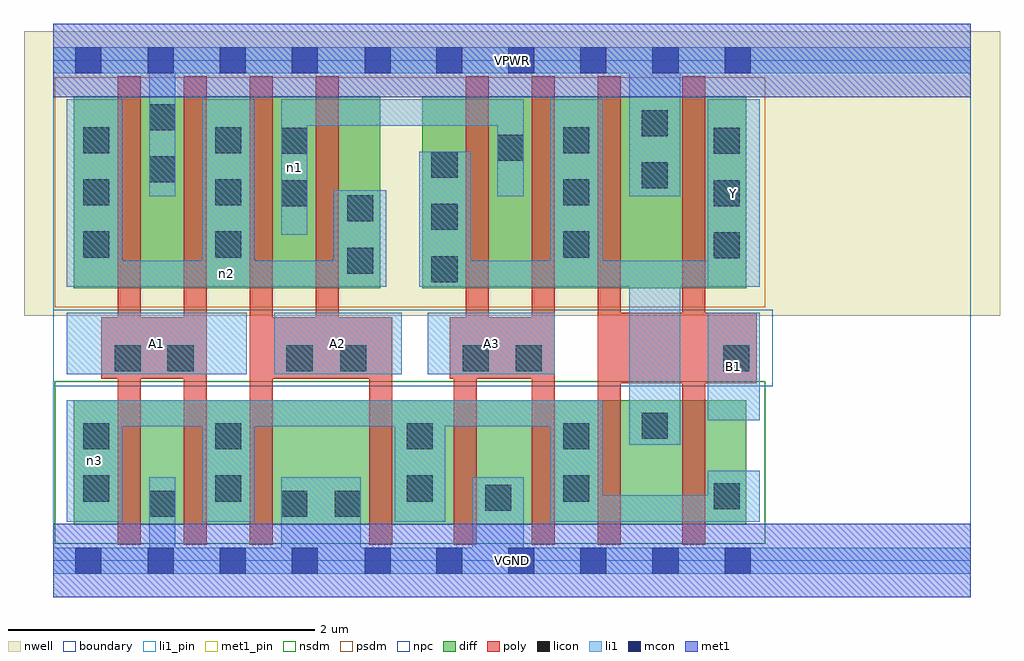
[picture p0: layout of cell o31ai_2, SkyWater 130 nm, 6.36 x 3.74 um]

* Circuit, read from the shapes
.subckt o31ai_2 A1 A2 A3 B1 VGND VPWR Y n1 n2 n3
XM1 VGND A1 n3 VSUBS sky130_fd_pr__nfet_01v8 w=0.81 l=0.15 m=2
XM2 VGND A2 n3 VSUBS sky130_fd_pr__nfet_01v8 w=0.81 l=0.15 m=2
XM3 VGND A3 n3 VSUBS sky130_fd_pr__nfet_01v8 w=0.81 l=0.15 m=2
XM4 Y B1 n3 VSUBS sky130_fd_pr__nfet_01v8 w=0.81 l=0.15 m=2
XM5 VPWR A1 n2 n4 sky130_fd_pr__pfet_01v8 w=1.25 l=0.15 m=2
XM6 n1 A2 n2 n4 sky130_fd_pr__pfet_01v8 w=1.25 l=0.15 m=2
XM7 n1 A3 Y n4 sky130_fd_pr__pfet_01v8 w=1.25 l=0.15 m=2
XM8 VPWR B1 Y n4 sky130_fd_pr__pfet_01v8 w=1.25 l=0.15 m=2
.ends

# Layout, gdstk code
import gdstk
lib = gdstk.Library(unit=1e-6, precision=1e-09)
def R(c, l, rs):  # rectangles x0, y0, x1, y1
    for r in rs: c.add(gdstk.rectangle(r[:2], r[2:], *l))
def A(c, l, x, y, w, h, nx, ny, dx, dy):  # array of equal rectangles
    R(c, l, [(x+i*dx, y+j*dy, x+i*dx+w, y+j*dy+h) for i in range(nx) for j in range(ny)])
nwell = (64, 20)
diff = (65, 20)
poly = (66, 20)
licon = (66, 44)
li1_pin = (67, 16)
li1 = (67, 20)
mcon = (67, 44)
met1_pin = (68, 16)
met1 = (68, 20)
nsdm = (93, 44)
psdm = (94, 20)
npc = (95, 20)
boundary = (235, 4)

o31ai_2 = lib.new_cell('o31ai_2')
R(o31ai_2, nwell, [(-0.19,1.595,6.17,3.45), (0,1.595,5.98,3.45)])
R(o31ai_2, diff, [(0.135,0.235,4.515,1.045), (0.135,1.775,2.13,3.025), (2.405,1.775,4.515,3.025)])
A(o31ai_2, poly, 0.42, 0.105, 0.15, 3.05, 3, 1, 0.43, 0)
R(o31ai_2, poly, [(2.06,0.105,2.21,1.585), (2.61,0.105,2.76,1.585), (3.12,0.105,3.27,3.155), (3.55,0.105,3.7,3.155), (4.1,0.105,4.25,3.155), (3.55,1.155,4.585,1.615), (0.315,1.185,1,1.585), (1.28,1.185,2.21,1.585), (1.71,1.185,1.86,3.155), (2.585,1.185,3.27,1.585), (2.69,1.185,2.84,3.155)])
A(o31ai_2, licon, 2.465, 1.815, 0.17, 0.17, 1, 3, 0, 0.34)
A(o31ai_2, licon, 4.305, 1.97, 0.17, 0.17, 1, 3, 0, 0.34)
A(o31ai_2, licon, 0.195, 1.975, 0.17, 0.17, 1, 3, 0, 0.34)
A(o31ai_2, licon, 1.055, 1.975, 0.17, 0.17, 1, 3, 0, 0.34)
A(o31ai_2, licon, 3.325, 1.975, 0.17, 0.17, 1, 3, 0, 0.34)
R(o31ai_2, licon, [(0.625,0.285,0.795,0.455), (1.485,0.285,1.655,0.455), (1.835,0.285,2.005,0.455), (2.815,0.325,2.985,0.495), (4.305,0.335,4.475,0.505), (0.195,0.385,0.365,0.555), (1.055,0.385,1.225,0.555), (2.305,0.385,2.475,0.555), (3.325,0.385,3.495,0.555), (0.195,0.725,0.365,0.895), (1.055,0.725,1.225,0.895), (2.305,0.725,2.475,0.895), (3.325,0.725,3.495,0.895), (3.835,0.795,4.005,0.965), (0.4,1.235,0.57,1.405), (0.745,1.235,0.915,1.405), (1.52,1.235,1.69,1.405), (1.87,1.235,2.04,1.405), (2.67,1.235,2.84,1.405), (3.015,1.235,3.185,1.405), (4.365,1.235,4.535,1.405), (1.915,1.87,2.085,2.04), (1.915,2.21,2.085,2.38), (1.485,2.31,1.655,2.48), (3.835,2.425,4.005,2.595), (0.625,2.465,0.795,2.635), (2.895,2.605,3.065,2.775), (1.485,2.65,1.655,2.82), (3.835,2.765,4.005,2.935), (0.625,2.805,0.795,2.975)])
R(o31ai_2, li1_pin, [(4.265,0.915,4.605,1.615), (0.09,1.215,1.26,1.615), (1.44,1.215,2.27,1.615), (2.44,1.215,3.27,1.615), (4.265,1.785,4.605,3.005)])
R(o31ai_2, li1, [(0,-0.085,5.98,0.085), (0.625,-0.085,0.795,0.545), (1.485,-0.085,2.005,0.545), (2.73,-0.085,3.065,0.545), (0.09,0.255,0.45,1.045), (0.97,0.255,1.31,1.045), (2.225,0.255,2.555,1.045), (3.24,0.255,3.58,1.045), (3.24,0.255,4.605,0.425), (4.265,0.255,4.605,0.585), (3.755,0.755,4.085,1.955), (0.09,0.875,3.58,1.045), (4.265,0.915,4.605,1.615), (0.09,1.215,1.26,1.615), (1.44,1.215,2.27,1.615), (2.44,1.215,3.27,1.615), (0.09,1.785,2.17,1.955), (0.09,1.785,0.45,3.005), (0.97,1.785,1.31,3.005), (1.83,1.785,2.17,2.415), (2.385,1.785,4.605,1.955), (2.385,1.785,2.72,2.665), (3.24,1.785,3.58,3.005), (4.265,1.785,4.605,3.005), (1.485,2.125,1.655,3.005), (0.625,2.375,0.795,3.345), (2.895,2.375,3.065,3.005), (3.755,2.375,4.085,3.345), (1.485,2.835,3.065,3.005), (0,3.175,5.98,3.345)])
A(o31ai_2, mcon, 0.145, -0.085, 0.17, 0.17, 4, 2, 0.47, 3.26)
A(o31ai_2, mcon, 2.495, -0.085, 0.17, 0.17, 5, 2, 0.47, 3.26)
R(o31ai_2, mcon, [(2.03,-0.085,2.2,0.085), (2.03,3.175,2.2,3.345)])
R(o31ai_2, met1_pin, [(0,-0.24,5.98,0.24), (0,3.02,5.98,3.5)])
R(o31ai_2, met1, [(0,-0.24,5.98,0.24), (0,3.02,5.98,3.5)])
R(o31ai_2, nsdm, [(0.01,0.11,4.64,1.17)])
R(o31ai_2, psdm, [(0.01,1.65,4.64,3.15)])
R(o31ai_2, npc, [(0,1.135,4.69,1.635)])
R(o31ai_2, boundary, [(0,0,5.98,3.26)])
o31ai_2.add(gdstk.Label('A1', (0.675,1.415), layer=67, texttype=5))
o31ai_2.add(gdstk.Label('A2', (1.855,1.415), layer=67, texttype=5))
o31ai_2.add(gdstk.Label('A3', (2.855,1.415), layer=67, texttype=5))
o31ai_2.add(gdstk.Label('B1', (4.435,1.265), layer=67, texttype=5))
o31ai_2.add(gdstk.Label('Y', (4.435,2.395), layer=67, texttype=5))
o31ai_2.add(gdstk.Label('n3', (0.27,0.65), layer=67, texttype=5))
o31ai_2.add(gdstk.Label('n2', (1.13,1.87), layer=67, texttype=5))
o31ai_2.add(gdstk.Label('n1', (1.57,2.565), layer=67, texttype=5))
o31ai_2.add(gdstk.Label('VPWR', (2.99,3.26), layer=68, texttype=5))
o31ai_2.add(gdstk.Label('VGND', (2.99,0), layer=68, texttype=5))
o31ai_2.add(gdstk.Label('A1', (0.675,1.415), layer=67, texttype=16))
o31ai_2.add(gdstk.Label('A2', (1.855,1.415), layer=67, texttype=16))
o31ai_2.add(gdstk.Label('A3', (2.855,1.415), layer=67, texttype=16))
o31ai_2.add(gdstk.Label('B1', (4.435,1.265), layer=67, texttype=16))
o31ai_2.add(gdstk.Label('Y', (4.435,2.395), layer=67, texttype=16))
o31ai_2.add(gdstk.Label('VPWR', (2.99,3.26), layer=68, texttype=16))
o31ai_2.add(gdstk.Label('VGND', (2.99,0), layer=68, texttype=16))

lib.write_gds('o31ai_2.gds')
